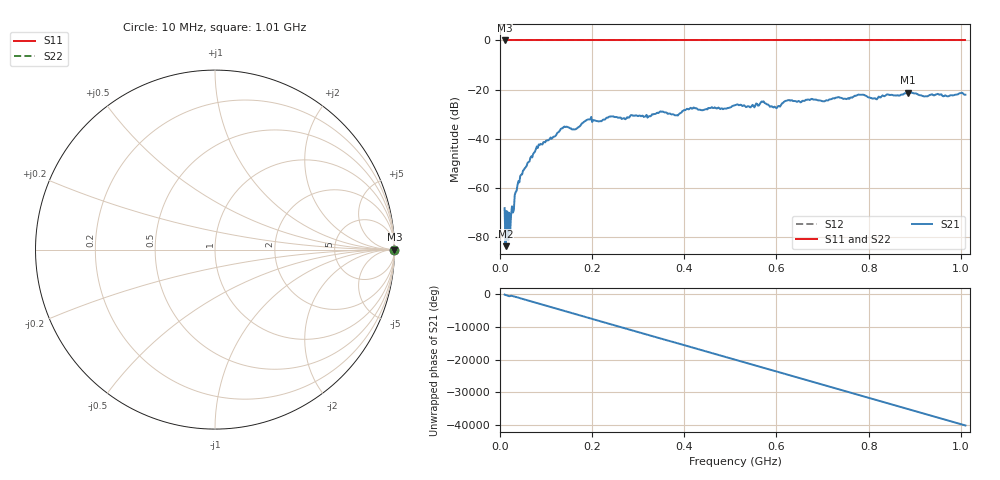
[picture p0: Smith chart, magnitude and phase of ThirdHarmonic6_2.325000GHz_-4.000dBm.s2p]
! 8/17/2025 3:19:27 AM
! C:\ANRITSUVNA\TEMP\TEMP.S2P
! CHANNEL.1
! TR.MEASUREMENT
! RAW.DATA
! RF.CORRECTION.OFF
! AVERAGING.OFF
! IF.BANDWIDTH: 5KHZ
! SWEEPTYPE:  FREQ.SWEEP(Linear)
! Reference Plane Port Info
! PORT:  PORT1  PORT2
! DISTANCE:  0  m  0  m
! TIME:  0  s  0  s
! PHASE.OFFSET:  0  deg.  0  deg.
! LOSS:  0  dB  0  dB
! REF.LOSS:  0  dB  0  dB
! REF.FREQ:  0  Hz  0  Hz
! Power Info
! POWER:  -20  dBm  -20  dBm
! EFF.POWER:  -20  dBm  -20  dBm
! SOURCE.ATTEN:  0  dB  0  dB
! TEST.ATTEN:  0  dB  0  dB
# GHZ S RI R 50.0
! FREQ.GHZ  S11RE  S11IM  S21RE  S21IM  S12RE  S12IM  S22RE  S22IM
!; PortSelection: Port_12
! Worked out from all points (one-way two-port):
!   501 points, 10 MHz to 1.01 GHz, reference 50 ohm
!   highest |S21| = -21.19 dB at 886 MHz (marker M1); lowest = -83.7 dB at 12 MHz (marker M2)
!   lowest |S11| = 0.0 dB at 10 MHz (marker M3)
!   |S11| at or under -10 dB: nowhere
!   |S22| runs from 0.0 to 0.0 dB; largest |S21 - S12| = 1.1
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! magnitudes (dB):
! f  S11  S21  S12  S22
! 10 MHz  0.0  -68.2  0.0  0.0
! 12 MHz  0.0  -83.7  0.0  0.0
! 14 MHz  0.0  -69.4  0.0  0.0
! 22 MHz  0.0  -78.0  0.0  0.0
! 36 MHz  0.0  -61.1  0.0  0.0
! 42 MHz  0.0  -57.7  0.0  0.0
! 82 MHz  0.0  -43.7  0.0  0.0
! 136 MHz  0.0  -35.7  0.0  0.0
! 162 MHz  0.0  -36.2  0.0  0.0
! 178 MHz  0.0  -33.7  0.0  0.0
! 194 MHz  0.0  -32.1  0.0  0.0
! 344 MHz  0.0  -29.5  0.0  0.0
! 382 MHz  0.0  -30.4  0.0  0.0
! 416 MHz  0.0  -27.7  0.0  0.0
! 510 MHz  0.0  -26.4  0.0  0.0
! 570 MHz  0.0  -25.0  0.0  0.0
! 598 MHz  0.0  -27.3  0.0  0.0
! 624 MHz  0.0  -24.4  0.0  0.0
! 678 MHz  0.0  -23.9  0.0  0.0
! 844 MHz  0.0  -22.1  0.0  0.0
! 886 MHz  0.0  -21.2  0.0  0.0
! 1.01 GHz  0.0  -22.1  0.0  0.0
